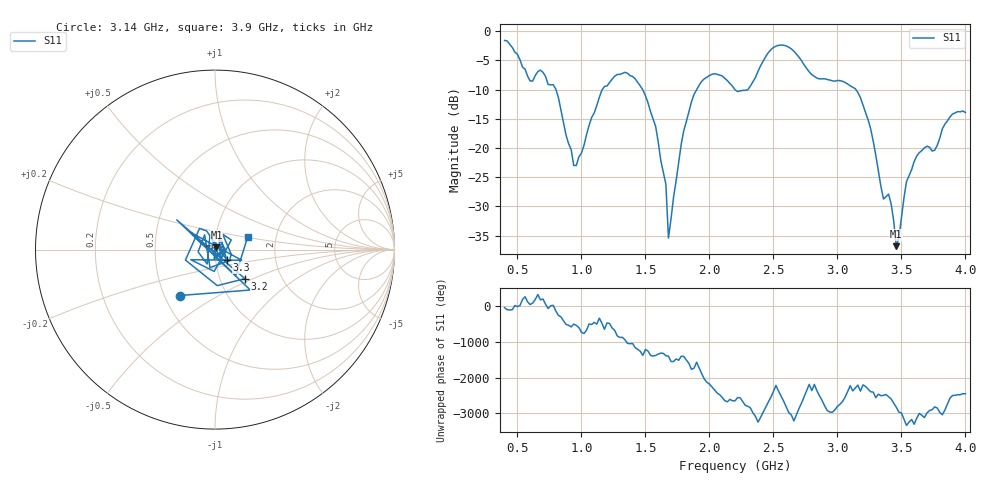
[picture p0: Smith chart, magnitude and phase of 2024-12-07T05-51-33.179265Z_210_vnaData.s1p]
!Created with skrf (http://scikit-rf.org).
# Hz S RI R 50.0
!freq ReS11 ImS11
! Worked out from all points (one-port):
!   181 points, 400 MHz to 4 GHz, reference 50 ohm
!   lowest |S11| = -36.8 dB at 3.46 GHz (marker M1), VSWR 1.03, Z = 50.8 + j1.2 ohm
!   |S11| at or under -10 dB: 801.2 MHz to 1.163 GHz (362.1 MHz wide, 36.9 % of centre); 1.479 GHz to 1.901 GHz (422.1 MHz wide, 25 % of centre); 3.145 GHz to end of sweep (the widest 3 of 4)
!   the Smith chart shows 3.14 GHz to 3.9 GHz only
!   S11 on the Smith chart (normalised r, x): 3.14 GHz: 0.60, -0.34; 3.2 GHz: 1.31, -0.45; 3.3 GHz: 1.13, -0.13; 3.9 GHz: 1.43, +0.21
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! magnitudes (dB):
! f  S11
! 400 MHz  -1.6
! 600 MHz  -8.5
! 780 MHz  -9.2
! 860 MHz  -15.6
! 960 MHz  -23.0
! 1.16 GHz  -10.1
! 1.3 GHz  -7.4
! 1.46 GHz  -9.4
! 1.58 GHz  -16.3
! 1.66 GHz  -26.2
! 1.68 GHz  -35.4
! 1.76 GHz  -22.4
! 1.86 GHz  -12.1
! 1.94 GHz  -8.6
! 2.2 GHz  -10.0
! 2.3 GHz  -10.0
! 2.5 GHz  -2.8
! 2.66 GHz  -3.4
! 3.1 GHz  -9.4
! 3.14 GHz  -9.9
! 3.2 GHz  -12.7
! 3.3 GHz  -21.2
! 3.36 GHz  -28.7
! 3.42 GHz  -29.6
! 3.46 GHz  -36.8
! 3.56 GHz  -24.7
! 3.9 GHz  -14.2
! 4 GHz  -13.9
